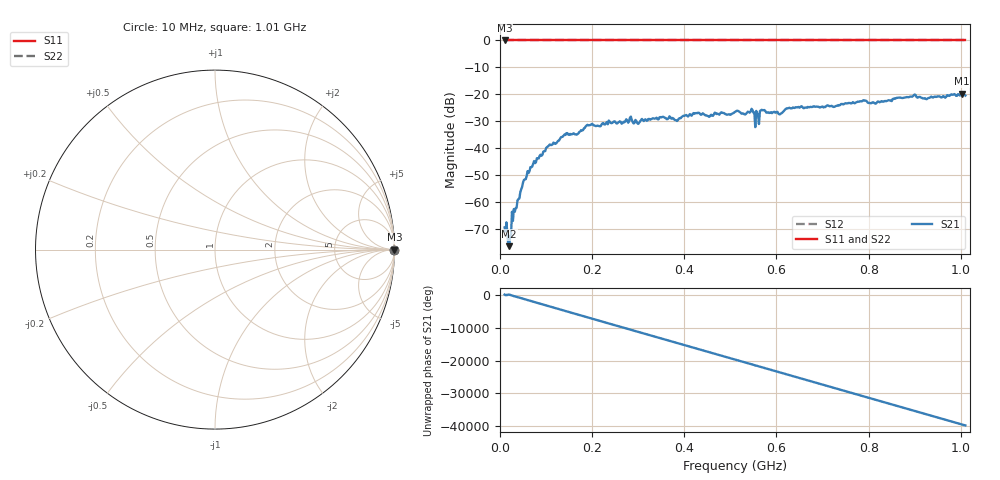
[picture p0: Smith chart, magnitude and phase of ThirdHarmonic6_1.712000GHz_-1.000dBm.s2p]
! 8/16/2025 8:35:52 PM
! C:\ANRITSUVNA\TEMP\TEMP.S2P
! CHANNEL.1
! TR.MEASUREMENT
! RAW.DATA
! RF.CORRECTION.OFF
! AVERAGING.OFF
! IF.BANDWIDTH: 5KHZ
! SWEEPTYPE:  FREQ.SWEEP(Linear)
! Reference Plane Port Info
! PORT:  PORT1  PORT2
! DISTANCE:  0  m  0  m
! TIME:  0  s  0  s
! PHASE.OFFSET:  0  deg.  0  deg.
! LOSS:  0  dB  0  dB
! REF.LOSS:  0  dB  0  dB
! REF.FREQ:  0  Hz  0  Hz
! Power Info
! POWER:  -20  dBm  -20  dBm
! EFF.POWER:  -20  dBm  -20  dBm
! SOURCE.ATTEN:  0  dB  0  dB
! TEST.ATTEN:  0  dB  0  dB
# GHZ S RI R 50.0
! FREQ.GHZ  S11RE  S11IM  S21RE  S21IM  S12RE  S12IM  S22RE  S22IM
!; PortSelection: Port_12
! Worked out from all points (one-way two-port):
!   501 points, 10 MHz to 1.01 GHz, reference 50 ohm
!   highest |S21| = -19.75 dB at 1.002 GHz (marker M1); lowest = -76.4 dB at 20 MHz (marker M2)
!   lowest |S11| = 0.0 dB at 10 MHz (marker M3)
!   |S11| at or under -10 dB: nowhere
!   |S22| runs from 0.0 to 0.0 dB; largest |S21 - S12| = 1.1
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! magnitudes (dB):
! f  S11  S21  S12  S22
! 10 MHz  0.0  -69.4  0.0  0.0
! 20 MHz  0.0  -76.4  0.0  0.0
! 30 MHz  0.0  -62.6  0.0  0.0
! 50 MHz  0.0  -52.7  0.0  0.0
! 70 MHz  0.0  -46.8  0.0  0.0
! 104 MHz  0.0  -39.3  0.0  0.0
! 142 MHz  0.0  -35.1  0.0  0.0
! 178 MHz  0.0  -33.4  0.0  0.0
! 196 MHz  0.0  -31.4  0.0  0.0
! 344 MHz  0.0  -29.3  0.0  0.0
! 382 MHz  0.0  -29.7  0.0  0.0
! 424 MHz  0.0  -27.0  0.0  0.0
! 510 MHz  0.0  -26.5  0.0  0.0
! 548 MHz  0.0  -25.9  0.0  0.0
! 558 MHz  0.0  -27.2  0.0  0.0
! 570 MHz  0.0  -25.9  0.0  0.0
! 608 MHz  0.0  -27.4  0.0  0.0
! 624 MHz  0.0  -25.2  0.0  0.0
! 678 MHz  0.0  -24.7  0.0  0.0
! 844 MHz  0.0  -22.2  0.0  0.0
! 1.002 GHz  0.0  -19.7  0.0  0.0
! 1.01 GHz  0.0  -20.5  0.0  0.0
